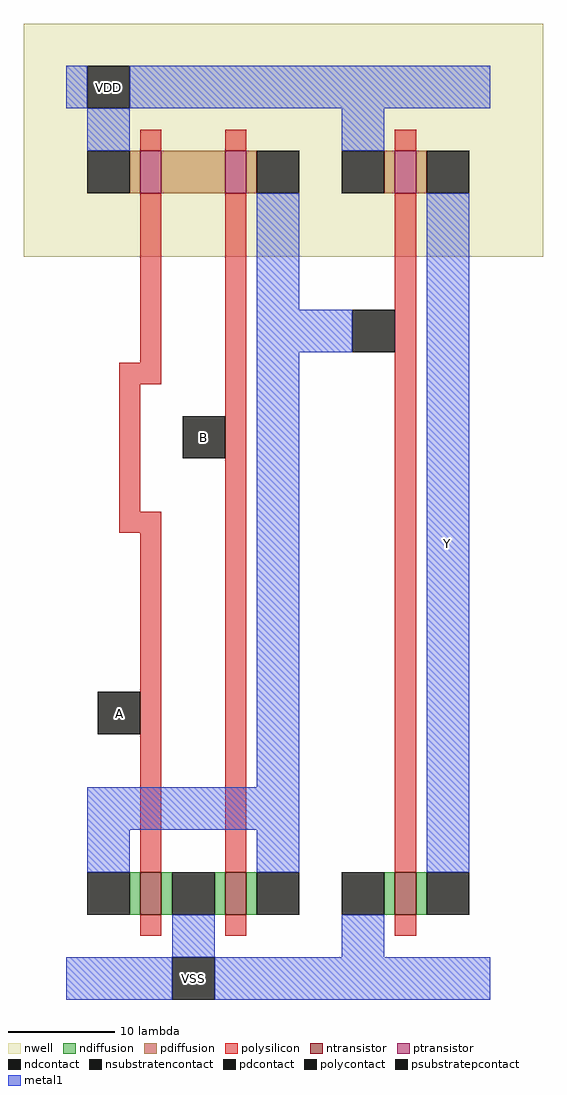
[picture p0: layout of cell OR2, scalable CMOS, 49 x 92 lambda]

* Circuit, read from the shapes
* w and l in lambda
.subckt OR2 A B VDD VSS Y
M1 VSS A n1 VSS nfet w=4 l=2
M2 n1 B VSS VSS nfet w=4 l=2
M3 Y n1 VSS VSS nfet w=4 l=2
M4 n2 A VDD VDD pfet w=4 l=2
M5 n1 B n2 VDD pfet w=4 l=2
M6 Y n1 VDD VDD pfet w=4 l=2
.ends

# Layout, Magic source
magic
tech scmos
<< nwell >>
rect -4 70 45 92
<< ntransistor >>
rect 7 8 9 12
rect 15 8 17 12
rect 31 8 33 12
<< ptransistor >>
rect 7 76 9 80
rect 15 76 17 80
rect 31 76 33 80
<< ndiffusion >>
rect 6 8 7 12
rect 9 8 10 12
rect 14 8 15 12
rect 17 8 18 12
rect 30 8 31 12
rect 33 8 34 12
<< pdiffusion >>
rect 6 76 7 80
rect 9 76 15 80
rect 17 76 18 80
rect 30 76 31 80
rect 33 76 34 80
<< ndcontact >>
rect 2 8 6 12
rect 10 8 14 12
rect 18 8 22 12
rect 26 8 30 12
rect 34 8 38 12
<< pdcontact >>
rect 2 76 6 80
rect 18 76 22 80
rect 26 76 30 80
rect 34 76 38 80
<< psubstratepcontact >>
rect 10 0 14 4
<< nsubstratencontact >>
rect 2 84 6 88
<< polysilicon >>
rect 7 80 9 82
rect 15 80 17 82
rect 31 80 33 82
rect 7 60 9 76
rect 5 58 9 60
rect 5 46 7 58
rect 5 44 9 46
rect 7 12 9 44
rect 15 12 17 76
rect 31 12 33 76
rect 7 6 9 8
rect 15 6 17 8
rect 31 6 33 8
<< polycontact >>
rect 11 51 15 55
rect 3 25 7 29
rect 27 61 31 65
<< metal1 >>
rect 0 84 2 88
rect 6 84 40 88
rect 2 80 6 84
rect 26 80 30 84
rect 18 65 22 76
rect 18 61 27 65
rect 18 20 22 61
rect 2 16 22 20
rect 2 12 6 16
rect 18 12 22 16
rect 34 12 38 76
rect 10 4 14 8
rect 26 4 30 8
rect 0 0 10 4
rect 14 0 40 4
<< labels >>
rlabel nsubstratencontact 4 86 4 86 1 VDD
rlabel psubstratepcontact 12 2 12 2 1 VSS
rlabel polycontact 5 27 5 27 1 A
rlabel polycontact 13 53 13 53 1 B
rlabel metal1 36 43 36 43 1 Y
<< end >>
